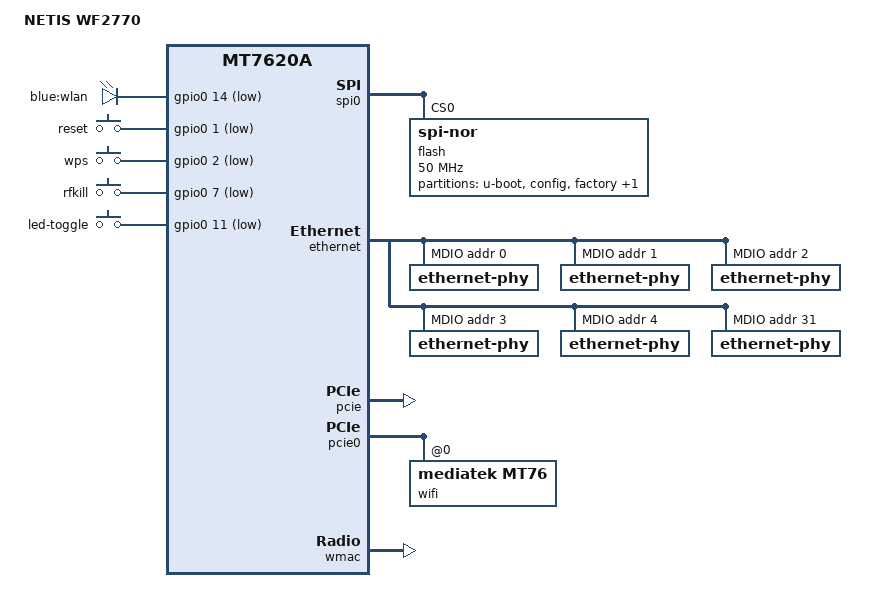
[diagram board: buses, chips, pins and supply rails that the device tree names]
// SPDX-License-Identifier: GPL-2.0-or-later OR MIT

#include "mt7620a.dtsi"

#include <dt-bindings/gpio/gpio.h>
#include <dt-bindings/input/input.h>

/ {
	compatible = "netis,wf2770", "ralink,mt7620a-soc";
	model = "NETIS WF2770";

	leds {
		compatible = "gpio-leds";

		wlan {
			label = "blue:wlan";
			gpios = <&gpio0 14 GPIO_ACTIVE_LOW>;
			linux,default-trigger = "phy0tpt";
		};
	};

	keys {
		compatible = "gpio-keys";

		reset {
			label = "reset";
			gpios = <&gpio0 1 GPIO_ACTIVE_LOW>;
			linux,code = <KEY_RESTART>;
		};

		wps {
			label = "wps";
			gpios = <&gpio0 2 GPIO_ACTIVE_LOW>;
			linux,code = <KEY_WPS_BUTTON>;
		};

		rfkill {
			label = "rfkill";
			gpios = <&gpio0 7 GPIO_ACTIVE_LOW>;
			linux,code = <KEY_RFKILL>;
		};

		led-toggle {
			label = "led-toggle";
			gpios = <&gpio0 11 GPIO_ACTIVE_LOW>;
			linux,code = <KEY_LIGHTS_TOGGLE>;
		};
	};
};

&spi0 {
	status = "okay";

	flash@0 {
		compatible = "jedec,spi-nor";
		reg = <0>;
		spi-max-frequency = <50000000>;

		partitions {
			compatible = "fixed-partitions";
			#address-cells = <1>;
			#size-cells = <1>;

			partition@0 {
				label = "u-boot";
				reg = <0x0 0x30000>;
				read-only;
			};

			partition@30000 {
				label = "config";
				reg = <0x30000 0x10000>;
				read-only;
			};

			factory: partition@40000 {
				label = "factory";
				reg = <0x40000 0x10000>;
				read-only;
			};

			partition@50000 {
				compatible = "denx,uimage";
				label = "firmware";
				reg = <0x50000 0xfb0000>;
			};
		};
	};
};

&state_default {
	gpio {
		groups = "i2c", "uartf";
		function = "gpio";
	};
};

&ethernet {
	pinctrl-names = "default";
	pinctrl-0 = <&rgmii1_pins &mdio_pins>;

	mtd-mac-address = <&factory 0x4>;

	port@5 {
		status = "okay";
		mediatek,fixed-link = <1000 1 1 1>;
		phy-mode = "rgmii";
	};

	mdio-bus {
		status = "okay";

		ethernet-phy@0 {
			reg = <0>;
			phy-mode = "rgmii";
		};

		ethernet-phy@1 {
			reg = <1>;
			phy-mode = "rgmii";
		};

		ethernet-phy@2 {
			reg = <2>;
			phy-mode = "rgmii";
		};

		ethernet-phy@3 {
			reg = <3>;
			phy-mode = "rgmii";
		};

		ethernet-phy@4 {
			reg = <4>;
			phy-mode = "rgmii";
		};

		ethernet-phy@1f {
			reg = <0x1f>;
			phy-mode = "rgmii";
		};
	};
};

&gsw {
	mediatek,ephy-base = /bits/ 8 <12>;
};

&pcie {
	status = "okay";
};

&pcie0 {
	wifi@0,0 {
		compatible = "mediatek,mt76";
		reg = <0x0000 0 0 0 0>;
		mediatek,mtd-eeprom = <&factory 0x8000>;
		ieee80211-freq-limit = <5000000 6000000>;
	};
};

&wmac {
	ralink,mtd-eeprom = <&factory 0x0>;
};
